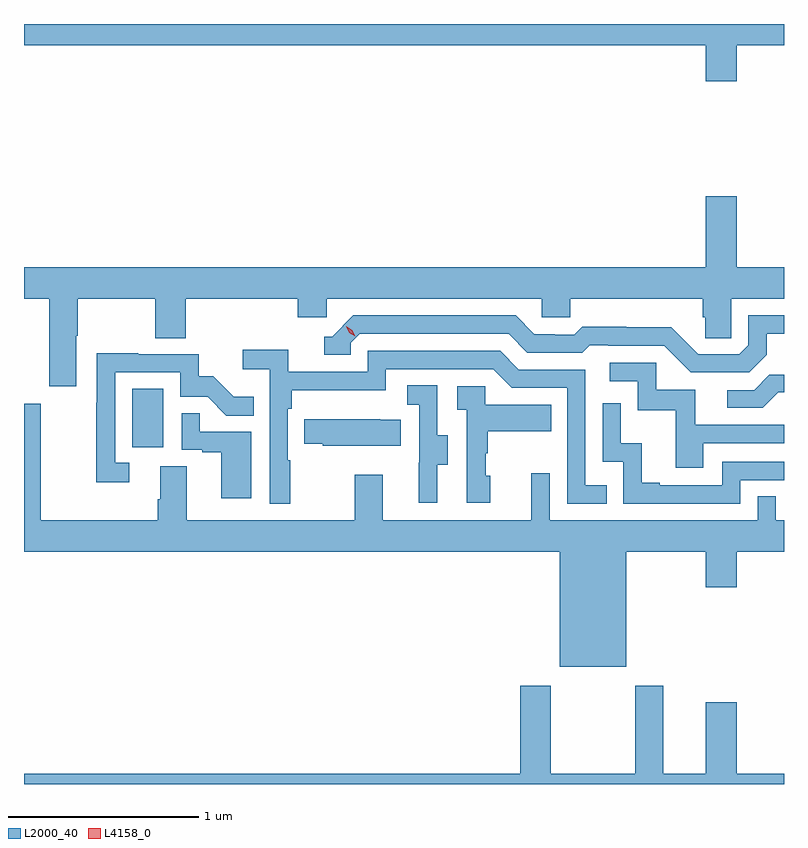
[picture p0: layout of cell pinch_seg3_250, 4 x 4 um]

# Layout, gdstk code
import gdstk
lib = gdstk.Library(unit=1e-6, precision=1e-09)
def R(c, l, rs):  # rectangles x0, y0, x1, y1
    for r in rs: c.add(gdstk.rectangle(r[:2], r[2:], *l))
def P(c, l, *ps):  # polygons
    for p in ps: c.add(gdstk.Polygon(p, *l))
L2000_40 = (2000, 40)
L4158_0 = (4158, 0)

pinch_seg3_250 = lib.new_cell('pinch_seg3_250')
R(pinch_seg3_250, L2000_40, [(929.222,726.774,929.386,727.081)])
P(pinch_seg3_250, L2000_40, [(932.404,728.888),(932.653,728.888),(932.653,729.001),(928.653,729.001),(928.653,728.888),(932.24,728.888),(932.24,728.7),(932.404,728.7)],
  [(928.927,727.36),(928.935,727.36),(928.935,727.556),(929.344,727.556),(929.344,727.348),(929.504,727.348),(929.504,727.556),(930.095,727.556),(930.095,727.458),(930.246,727.458),(930.246,727.556),(931.377,727.556),(931.377,727.458),(931.527,727.458),(931.527,727.556),(932.225,727.556),(932.225,727.458),(932.239,727.458),(932.239,727.348),(932.376,727.348),(932.376,727.556),(932.653,727.556),(932.653,727.72),(932.404,727.72),(932.404,728.095),(932.24,728.095),(932.24,727.72),(928.653,727.72),(928.653,727.556),(928.787,727.556),(928.787,727.095),(928.927,727.095)],
  [(932.563,727.261),(932.563,727.371),(932.653,727.371),(932.653,727.467),(932.466,727.467),(932.466,727.311),(932.418,727.263),(932.202,727.263),(932.06,727.405),(931.824,727.405),(931.824,727.408),(931.591,727.408),(931.549,727.365),(931.446,727.365),(931.446,727.368),(931.339,727.368),(931.24,727.467),(930.387,727.467),(930.276,727.356),(930.233,727.356),(930.233,727.26),(930.372,727.26),(930.372,727.323),(930.42,727.371),(931.203,727.371),(931.302,727.272),(931.591,727.272),(931.63,727.311),(931.729,727.311),(931.729,727.308),(932.022,727.308),(932.163,727.167),(932.469,727.167)],
  [(930.055,726.704),(930.042,726.704),(930.042,726.977),(930.062,726.977),(930.062,727.073),(930.558,727.073),(930.558,727.185),(931.122,727.185),(931.221,727.086),(931.512,727.086),(931.512,726.477),(931.721,726.477),(931.721,726.573),(931.608,726.573),(931.608,727.182),(931.258,727.182),(931.159,727.281),(930.462,727.281),(930.462,727.17),(930.044,727.17),(930.044,727.286),(929.805,727.286),(929.805,727.184),(929.946,727.184),(929.946,726.477),(930.055,726.477)],
  [(929.206,726.693),(929.133,726.693),(929.133,727.167),(929.475,727.167),(929.475,727.038),(929.619,727.038),(929.717,726.94),(929.861,726.94),(929.861,727.039),(929.757,727.039),(929.65,727.146),(929.574,727.146),(929.574,727.263),(929.255,727.263),(929.255,727.268),(929.037,727.268),(929.037,727.007),(929.032,727.007),(929.032,726.588),(929.206,726.588)],
  [(932.227,726.795),(932.653,726.795),(932.653,726.891),(932.185,726.891),(932.185,727.077),(931.98,727.077),(931.98,727.218),(931.737,727.218),(931.737,727.122),(931.884,727.122),(931.884,726.969),(932.083,726.969),(932.083,726.666),(932.227,726.666)],
  [(932.623,727.062),(932.653,727.062),(932.653,727.154),(932.576,727.154),(932.496,727.074),(932.355,727.074),(932.355,726.981),(932.542,726.981)],
  [(930.829,726.682),(930.883,726.682),(930.883,726.837),(930.828,726.837),(930.828,727.1),(930.669,727.1),(930.669,726.997),(930.732,726.997),(930.732,726.693),(930.731,726.693),(930.731,726.48),(930.829,726.48)],
  [(931.108,726.624),(931.083,726.624),(931.083,726.743),(931.093,726.743),(931.093,726.857),(931.427,726.857),(931.427,726.997),(931.08,726.997),(931.08,727.095),(930.933,727.095),(930.933,726.971),(930.984,726.971),(930.984,726.48),(931.108,726.48)],
  [(932.424,726.6),(932.653,726.6),(932.653,726.696),(932.328,726.696),(932.328,726.573),(931.999,726.573),(931.999,726.586),(931.904,726.586),(931.904,726.794),(931.794,726.794),(931.794,727.006),(931.698,727.006),(931.698,726.696),(931.806,726.696),(931.806,726.477),(932.424,726.477)],
  [(931.822,726.224),(932.24,726.224),(932.24,726.036),(932.404,726.036),(932.404,726.224),(932.653,726.224),(932.653,726.388),(932.61,726.388),(932.61,726.515),(932.514,726.515),(932.514,726.388),(931.419,726.388),(931.419,726.637),(931.322,726.637),(931.322,726.388),(930.541,726.388),(930.541,726.628),(930.394,726.628),(930.394,726.388),(929.509,726.388),(929.509,726.674),(929.369,726.674),(929.369,726.5),(929.357,726.5),(929.357,726.388),(928.741,726.388),(928.741,727.003),(928.653,727.003),(928.653,726.224),(931.472,726.224),(931.472,725.618),(931.822,725.618)],
  [(929.848,726.855),(929.579,726.855),(929.579,726.953),(929.484,726.953),(929.484,726.759),(929.591,726.759),(929.591,726.747),(929.69,726.747),(929.69,726.504),(929.848,726.504)],
  [(930.635,726.919),(930.527,726.919),(930.527,726.922),(930.127,726.922),(930.127,726.793),(930.225,726.793),(930.225,726.782),(930.635,726.782)],
  [(932.653,725.056),(932.404,725.056),(932.404,725.431),(932.24,725.431),(932.24,725.056),(932.017,725.056),(932.017,725.518),(931.87,725.518),(931.87,725.056),(931.425,725.056),(931.425,725.518),(931.265,725.518),(931.265,725.056),(928.653,725.056),(928.653,725.001),(932.653,725.001)])
P(pinch_seg3_250, L4158_0, [(930.396,727.357),(930.365,727.377),(930.349,727.409),(930.349,727.409),(930.35,727.409),(930.38,727.39),(930.396,727.358),(930.396,727.357)])

lib.write_gds('pinch_seg3_250.gds')
